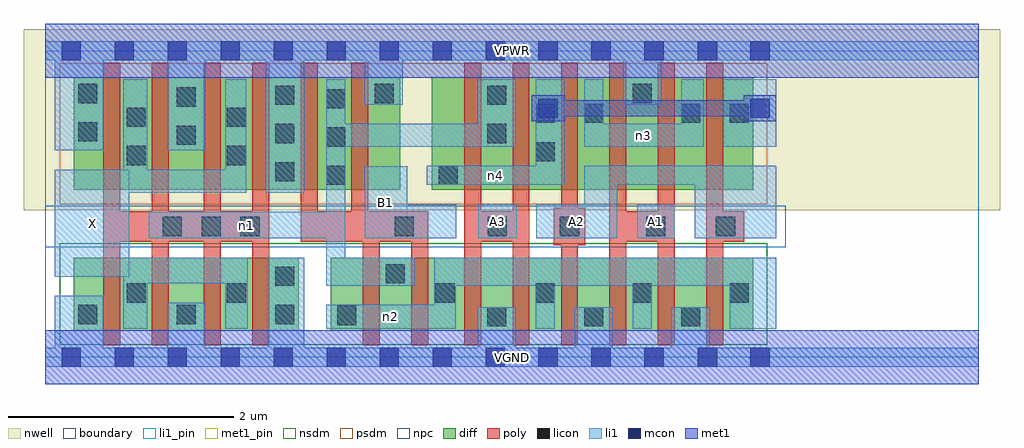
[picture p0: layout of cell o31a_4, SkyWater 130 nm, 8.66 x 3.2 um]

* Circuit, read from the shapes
.subckt o31a_4 A1 A2 A3 B1 VGND VPWR X n1 n2 n3 n4
XM1 X n1 VGND VSUBS sky130_fd_pr__nfet_01v8 w=0.65 l=0.15 m=4
XM2 n1 B1 n2 VSUBS sky130_fd_pr__nfet_01v8 w=0.65 l=0.15 m=2
XM3 VGND A3 n2 VSUBS sky130_fd_pr__nfet_01v8 w=0.65 l=0.15 m=2
XM4 VGND A2 n2 VSUBS sky130_fd_pr__nfet_01v8 w=0.65 l=0.15 m=2
XM5 n2 A1 VGND VSUBS sky130_fd_pr__nfet_01v8 w=0.65 l=0.15 m=2
XM6 X n1 VPWR n5 sky130_fd_pr__pfet_01v8 w=1 l=0.15 m=4
XM7 n1 B1 VPWR n5 sky130_fd_pr__pfet_01v8 w=1 l=0.15 m=2
XM8 n1 A3 n4 n5 sky130_fd_pr__pfet_01v8 w=1 l=0.15 m=2
XM9 n3 A2 n4 n5 sky130_fd_pr__pfet_01v8 w=1 l=0.15 m=2
XM10 VPWR A1 n3 n5 sky130_fd_pr__pfet_01v8 w=1 l=0.15 m=2
.ends

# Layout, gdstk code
import gdstk
lib = gdstk.Library(unit=1e-6, precision=1e-09)
def R(c, l, rs):  # rectangles x0, y0, x1, y1
    for r in rs: c.add(gdstk.rectangle(r[:2], r[2:], *l))
def A(c, l, x, y, w, h, nx, ny, dx, dy):  # array of equal rectangles
    R(c, l, [(x+i*dx, y+j*dy, x+i*dx+w, y+j*dy+h) for i in range(nx) for j in range(ny)])
nwell = (64, 20)
diff = (65, 20)
poly = (66, 20)
licon = (66, 44)
li1_pin = (67, 16)
li1 = (67, 20)
mcon = (67, 44)
met1_pin = (68, 16)
met1 = (68, 20)
nsdm = (93, 44)
psdm = (94, 20)
npc = (95, 20)
boundary = (235, 4)

o31a_4 = lib.new_cell('o31a_4')
R(o31a_4, nwell, [(-0.19,1.305,8.47,2.91), (0,1.305,8.28,2.91)])
R(o31a_4, diff, [(0.25,0.235,2.25,0.885), (2.53,0.235,6.28,0.885), (0.25,1.485,3.15,2.485), (3.43,1.485,6.28,2.485)])
A(o31a_4, poly, 3.715, 0.105, 0.15, 2.51, 6, 1, 0.43, 0)
R(o31a_4, poly, [(0.515,0.105,0.665,2.615), (0.945,0.105,1.095,2.615), (1.405,0.105,1.555,2.615), (1.835,0.105,1.985,2.615), (2.815,0.105,2.965,1.295), (3.245,0.105,3.395,1.295), (4.51,0.995,4.79,1.325), (0.515,1.025,1.985,1.295), (2.265,1.025,3.395,1.295), (2.265,1.025,2.415,2.615), (2.715,1.025,2.865,2.615), (3.715,1.025,4.295,1.295), (5.005,1.025,5.585,1.295), (5.865,1.025,6.2,1.295)])
A(o31a_4, licon, 3.92, 0.275, 0.17, 0.17, 3, 1, 0.86, 0)
A(o31a_4, licon, 0.29, 0.295, 0.17, 0.17, 3, 1, 0.875, 0)
A(o31a_4, licon, 4.35, 0.485, 0.17, 0.17, 3, 1, 0.86, 0)
A(o31a_4, licon, 1.04, 1.075, 0.17, 0.17, 3, 1, 0.345, 0)
A(o31a_4, licon, 2.49, 1.53, 0.17, 0.17, 1, 3, 0, 0.34)
A(o31a_4, licon, 2.04, 1.56, 0.17, 0.17, 1, 3, 0, 0.34)
R(o31a_4, licon, [(2.59,0.285,2.76,0.455), (0.72,0.485,0.89,0.655), (1.61,0.485,1.78,0.655), (3.46,0.485,3.63,0.655), (2.04,0.635,2.21,0.805), (3.02,0.655,3.19,0.825), (3.1,1.075,3.27,1.245), (3.925,1.075,4.095,1.245), (4.565,1.075,4.735,1.245), (5.33,1.075,5.5,1.245), (5.95,1.075,6.12,1.245), (3.49,1.53,3.66,1.7), (0.72,1.705,0.89,1.875), (1.61,1.705,1.78,1.875), (4.35,1.74,4.52,1.91), (1.165,1.885,1.335,2.055), (3.92,1.9,4.09,2.07), (0.29,1.915,0.46,2.085), (0.72,2.045,0.89,2.215), (1.61,2.045,1.78,2.215), (4.35,2.08,4.52,2.25), (4.78,2.08,4.95,2.25), (5.64,2.08,5.81,2.25), (6.07,2.08,6.24,2.25), (1.165,2.225,1.335,2.395), (3.92,2.24,4.09,2.41), (0.29,2.255,0.46,2.425), (2.92,2.255,3.09,2.425), (5.21,2.255,5.38,2.425)])
R(o31a_4, li1_pin, [(0.085,0.715,0.745,1.665), (2.835,1.055,3.21,1.695), (3.84,1.055,4.18,1.36), (4.355,1.055,5.075,1.36), (5.25,1.055,5.585,1.36)])
A(o31a_4, li1, 3.835, -0.085, 0.34, 0.53, 3, 1, 0.86, 0)
R(o31a_4, li1, [(0,-0.085,8.28,0.085), (0.085,-0.085,0.515,0.545), (1.08,-0.085,1.42,0.485), (1.97,-0.085,2.295,0.885), (0.69,0.255,0.905,0.885), (1.595,0.255,1.795,0.885), (2.49,0.255,3.64,0.465), (3.45,0.255,3.64,0.885), (4.35,0.255,4.52,0.885), (5.21,0.255,5.38,0.885), (6.07,0.255,6.485,0.885), (2.49,0.635,2.66,2.465), (2.49,0.635,3.275,0.885), (3.45,0.635,6.485,0.885), (0.69,0.655,1.795,0.885), (0.085,0.715,0.745,1.665), (0.915,1.055,2.66,1.29), (2.835,1.055,3.645,1.355), (2.835,1.055,3.21,1.695), (3.84,1.055,4.18,1.36), (4.355,1.055,5.075,1.36), (4.78,1.055,5.075,1.7), (5.25,1.055,5.585,1.36), (5.76,1.055,6.485,1.7), (0.085,1.46,1.78,1.665), (0.69,1.46,0.905,2.465), (1.595,1.46,1.78,2.465), (1.955,1.46,2.295,2.805), (3.385,1.53,4.605,1.7), (4.35,1.53,4.605,2.465), (4.78,1.53,6.485,1.7), (0.085,1.835,0.515,2.805), (1.08,1.835,1.42,2.805), (2.49,1.87,4.175,2.07), (3.835,1.87,4.175,2.465), (4.78,1.87,5.84,2.07), (4.78,1.87,4.95,2.465), (5.64,1.87,5.84,2.465), (6.015,1.87,6.485,2.465), (2.835,2.24,3.17,2.805), (5.125,2.24,5.465,2.805), (0,2.635,8.28,2.805)])
A(o31a_4, mcon, 0.145, -0.085, 0.17, 0.17, 12, 2, 0.47, 2.72)
R(o31a_4, mcon, [(5.79,-0.085,5.96,0.085), (6.255,-0.085,6.425,0.085), (4.375,2.125,4.545,2.295), (6.255,2.125,6.425,2.295), (5.79,2.635,5.96,2.805), (6.255,2.635,6.425,2.805)])
R(o31a_4, met1_pin, [(0,-0.24,8.28,0.24), (0,2.48,8.28,2.96)])
R(o31a_4, met1, [(0,-0.24,8.28,0.24), (4.315,2.095,4.61,2.325), (6.195,2.095,6.485,2.325), (4.315,2.14,6.485,2.28), (0,2.48,8.28,2.96)])
R(o31a_4, nsdm, [(0.125,0.11,6.405,1.01)])
R(o31a_4, psdm, [(0.125,1.36,6.405,2.61)])
R(o31a_4, npc, [(0,0.975,6.57,1.345)])
R(o31a_4, boundary, [(0,0,8.28,2.72)])
o31a_4.add(gdstk.Label('A1', (5.417,1.207), layer=67, texttype=5))
o31a_4.add(gdstk.Label('A2', (4.715,1.207), layer=67, texttype=5))
o31a_4.add(gdstk.Label('A3', (4.01,1.207), layer=67, texttype=5))
o31a_4.add(gdstk.Label('B1', (3.022,1.375), layer=67, texttype=5))
o31a_4.add(gdstk.Label('X', (0.415,1.19), layer=67, texttype=5))
o31a_4.add(gdstk.Label('n2', (3.065,0.36), layer=67, texttype=5))
o31a_4.add(gdstk.Label('n1', (1.787,1.172), layer=67, texttype=5))
o31a_4.add(gdstk.Label('n4', (3.995,1.615), layer=67, texttype=5))
o31a_4.add(gdstk.Label('n3', (5.31,1.97), layer=67, texttype=5))
o31a_4.add(gdstk.Label('VPWR', (4.14,2.72), layer=68, texttype=5))
o31a_4.add(gdstk.Label('VGND', (4.14,0), layer=68, texttype=5))
o31a_4.add(gdstk.Label('A1', (5.417,1.207), layer=67, texttype=16))
o31a_4.add(gdstk.Label('A2', (4.715,1.207), layer=67, texttype=16))
o31a_4.add(gdstk.Label('A3', (4.01,1.207), layer=67, texttype=16))
o31a_4.add(gdstk.Label('B1', (3.022,1.375), layer=67, texttype=16))
o31a_4.add(gdstk.Label('X', (0.415,1.19), layer=67, texttype=16))
o31a_4.add(gdstk.Label('VPWR', (4.14,2.72), layer=68, texttype=16))
o31a_4.add(gdstk.Label('VGND', (4.14,0), layer=68, texttype=16))

lib.write_gds('o31a_4.gds')
